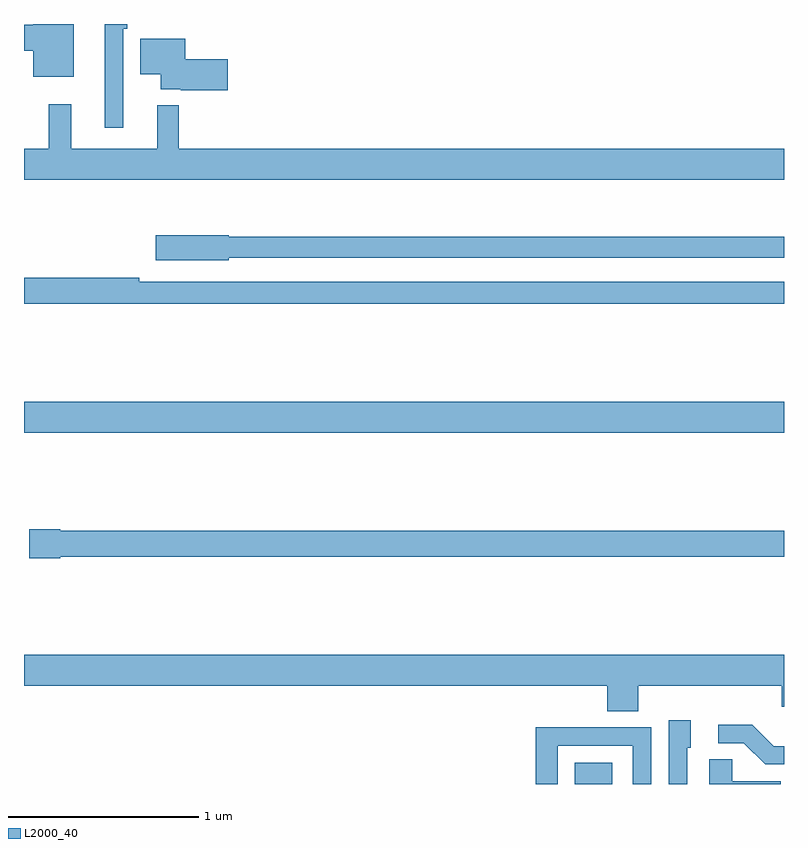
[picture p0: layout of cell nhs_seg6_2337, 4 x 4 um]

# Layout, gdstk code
import gdstk
lib = gdstk.Library(unit=1e-6, precision=1e-09)
def R(c, l, rs):  # rectangles x0, y0, x1, y1
    for r in rs: c.add(gdstk.rectangle(r[:2], r[2:], *l))
def P(c, l, *ps):  # polygons
    for p in ps: c.add(gdstk.Polygon(p, *l))
L2000_40 = (2000, 40)

nhs_seg6_2337 = lib.new_cell('nhs_seg6_2337')
R(nhs_seg6_2337, L2000_40, [(253.898,933.5,254.095,933.613), (251,935.348,255,935.512)])
P(nhs_seg6_2337, L2000_40, [(251.523,937.475),(251.543,937.475),(251.543,937.5),(251.426,937.5),(251.426,936.954),(251.523,936.954)],
  [(251.263,937.5),(251.048,937.5),(251.048,937.496),(251,937.496),(251,937.36),(251.048,937.36),(251.048,937.223),(251.263,937.223)],
  [(252.073,937.315),(251.848,937.315),(251.848,937.423),(251.612,937.423),(251.612,937.235),(251.72,937.235),(251.72,937.157),(251.824,937.157),(251.824,937.152),(252.073,937.152)],
  [(255,936.844),(251.814,936.844),(251.814,937.072),(251.702,937.072),(251.702,936.844),(251.249,936.844),(251.249,937.078),(251.131,937.078),(251.131,936.844),(251,936.844),(251,936.68),(255,936.68)],
  [(252.078,936.27),(255,936.27),(255,936.379),(252.078,936.379),(252.078,936.387),(251.694,936.387),(251.694,936.257),(252.078,936.257)],
  [(255,936.144),(251.606,936.144),(251.606,936.164),(251,936.164),(251,936.028),(255,936.028)],
  [(251.19,934.696),(255,934.696),(255,934.832),(251.19,934.832),(251.19,934.84),(251.028,934.84),(251.028,934.688),(251.19,934.688)],
  [(254.234,934.016),(254.987,934.016),(254.987,933.907),(255,933.907),(255,934.18),(251,934.18),(251,934.016),(254.069,934.016),(254.069,933.883),(254.234,933.883)],
  [(254.49,933.69),(254.509,933.69),(254.509,933.835),(254.394,933.835),(254.394,933.5),(254.49,933.5)],
  [(255,933.699),(254.946,933.699),(254.833,933.812),(254.655,933.812),(254.655,933.714),(254.789,933.714),(254.9,933.603),(255,933.603)],
  [(253.809,933.702),(254.205,933.702),(254.205,933.5),(254.301,933.5),(254.301,933.798),(253.985,933.798),(253.985,933.8),(253.693,933.8),(253.693,933.5),(253.809,933.5)],
  [(254.984,933.514),(254.727,933.514),(254.727,933.629),(254.606,933.629),(254.606,933.5),(254.984,933.5)])

lib.write_gds('nhs_seg6_2337.gds')
